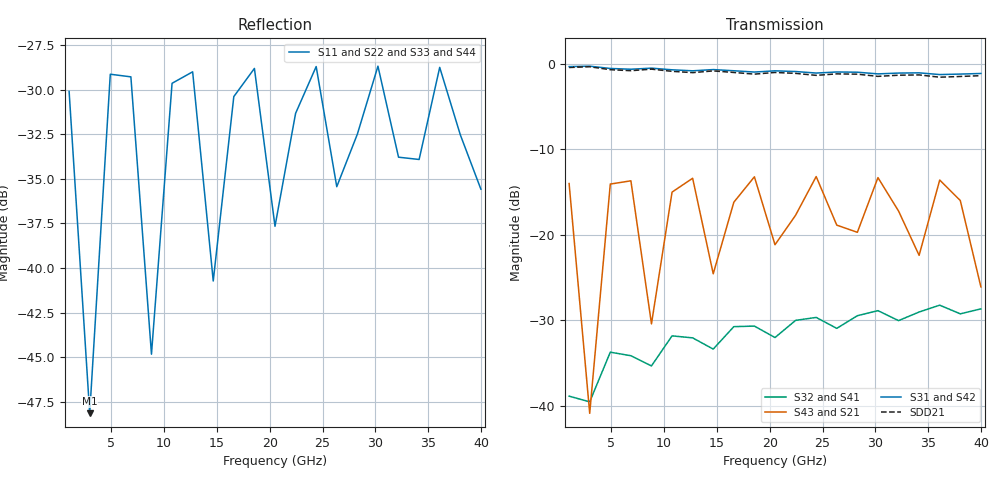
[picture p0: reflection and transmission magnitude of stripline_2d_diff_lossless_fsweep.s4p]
! Touchstone file from project stripline_2d_diff_lossless_fsweep
! Variables:
!  s = 100um
!  t = 35um
!  w = 0.15mm
!  x_sub = 3mm
!  z_sub = 200um
# GHZ S MA R 50.000000
! Terminal data exported
! Port[1] = signal_A
! Port[2] = signal1_A
! Port[3] = signal_B
! Port[4] = signal1_B
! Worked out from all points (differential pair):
!   21 points, 1 GHz to 40 GHz, reference per port
!   strongest paths, dB at 1 GHz, 10.75 GHz, 20.5 GHz, 30.25 GHz, 40 GHz:
!     S31: -0.4, -0.7, -0.9, -1.2, -1.2
!     S42: -0.4, -0.7, -0.9, -1.2, -1.2
!     S43: -14.0, -15.0, -21.2, -13.3, -26.1
!     S21: -14.0, -15.0, -21.2, -13.3, -26.1
!     S32: -38.9, -31.8, -32.0, -28.9, -28.7
!     S41: -38.9, -31.8, -32.0, -28.9, -28.7
!   taken as a pair (ports 1,2 in; 3,4 out), SDD21 dB: -0.5, -0.9, -1.0, -1.5, -1.4
!   lowest |S11| = -48.2 dB at 2.95 GHz (marker M1), VSWR 1.01
!   |S11| at or under -10 dB: start of sweep to end of sweep
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1  0.03129 163.5  0.199 -30.8  0.9592 -122.0  0.01141 -113.1
   0.199 -30.8  0.03129 163.5  0.01141 -113.1  0.9592 -122.0
   0.9592 -122.0  0.01141 -113.1  0.03129 163.5  0.199 -30.8
   0.01141 -113.1  0.9592 -122.0  0.199 -30.8  0.03129 163.5
2.95  0.003911 -143.4  0.00906 19.2  0.965 -0.7  0.01057 44.3
      0.00906 19.2  0.003911 -143.4  0.01057 44.3  0.965 -0.7
      0.965 -0.7  0.01057 44.3  0.003911 -143.4  0.00906 19.2
      0.01057 44.3  0.965 -0.7  0.00906 19.2  0.003911 -143.4
4.9  0.03497 -151.2  0.1977 29.4  0.9358 121.0  0.02061 161.4
     0.1977 29.4  0.03497 -151.2  0.02061 161.4  0.9358 121.0
     0.9358 121.0  0.02061 161.4  0.03497 -151.2  0.1977 29.4
     0.02061 161.4  0.9358 121.0  0.1977 29.4  0.03497 -151.2
6.85  0.03439 160.7  0.2065 -23.6  0.9261 -115.2  0.01965 -92.5
      0.2065 -23.6  0.03439 160.7  0.01965 -92.5  0.9261 -115.2
      0.9261 -115.2  0.01965 -92.5  0.03439 160.7  0.2065 -23.6
      0.01965 -92.5  0.9261 -115.2  0.2065 -23.6  0.03439 160.7
10.75  0.03298 -149.7  0.1774 35.2  0.9189 128.5  0.02567 171.1
       0.1774 35.2  0.03298 -149.7  0.02567 171.1  0.9189 128.5
       0.9189 128.5  0.02567 171.1  0.03298 -149.7  0.1774 35.2
       0.02567 171.1  0.9189 128.5  0.1774 35.2  0.03298 -149.7
12.7  0.03553 165.0  0.2137 -16.3  0.9066 -107.7  0.02499 -79.5
      0.2137 -16.3  0.03553 165.0  0.02499 -79.5  0.9066 -107.7
      0.9066 -107.7  0.02499 -79.5  0.03553 165.0  0.2137 -16.3
      0.02499 -79.5  0.9066 -107.7  0.2137 -16.3  0.03553 165.0
40  0.01664 -143.5  0.04964 43.8  0.8748 169.3  0.0369 -145.1
    0.04964 43.8  0.01664 -143.5  0.0369 -145.1  0.8747 169.3
    0.8748 169.3  0.0369 -145.1  0.01664 -143.5  0.04964 43.8
    0.0369 -145.1  0.8747 169.3  0.04964 43.8  0.01664 -143.5
